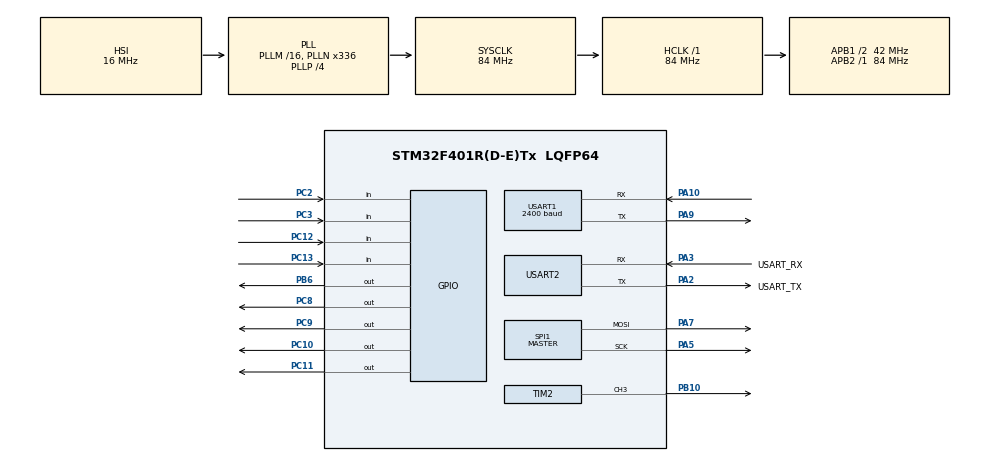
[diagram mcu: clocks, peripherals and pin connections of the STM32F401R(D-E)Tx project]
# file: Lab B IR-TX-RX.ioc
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Dma.Request0=SPI1_TX
Dma.SPI1_TX.0.Direction=DMA_MEMORY_TO_PERIPH
Dma.SPI1_TX.0.FIFOMode=DMA_FIFOMODE_DISABLE
Dma.SPI1_TX.0.Instance=DMA2_Stream3
Dma.SPI1_TX.0.MemDataAlignment=DMA_MDATAALIGN_BYTE
Dma.SPI1_TX.0.MemInc=DMA_MINC_ENABLE
Dma.SPI1_TX.0.Mode=DMA_NORMAL
Dma.SPI1_TX.0.PeriphDataAlignment=DMA_PDATAALIGN_BYTE
Dma.SPI1_TX.0.PeriphInc=DMA_PINC_DISABLE
Dma.SPI1_TX.0.Priority=DMA_PRIORITY_LOW
Mcu.Family=STM32F4
Mcu.Name=STM32F401R(D-E)Tx
Mcu.Package=LQFP64
NVIC.DMA2_Stream3_IRQn=true\:0\:0\:false\:false\:true\:false\:true\:true
NVIC.PriorityGroup=NVIC_PRIORITYGROUP_0
NVIC.SPI1_IRQn=true\:0\:0\:false\:false\:true\:true\:true\:true
NVIC.TIM1_TRG_COM_TIM11_IRQn=true\:0\:0\:false\:false\:true\:true\:true\:true
NVIC.TIM1_UP_TIM10_IRQn=true\:0\:0\:false\:false\:true\:true\:true\:true
NVIC.TIM2_IRQn=true\:0\:0\:false\:false\:true\:true\:true\:true
NVIC.TIM3_IRQn=true\:0\:0\:false\:false\:true\:true\:true\:true
NVIC.USART1_IRQn=true\:0\:0\:false\:false\:true\:true\:true\:true
NVIC.USART2_IRQn=true\:0\:0\:false\:false\:true\:true\:true\:true
PA10.Mode=Asynchronous
PA10.Signal=USART1_RX
PA13.GPIO_Label=TMS
PA13.Mode=Serial_Wire
PA13.Signal=SYS_JTMS-SWDIO
PA14.GPIO_Label=TCK
PA14.Mode=Serial_Wire
PA14.Signal=SYS_JTCK-SWCLK
PA2.GPIO_Label=USART_TX
PA2.GPIO_Mode=GPIO_MODE_AF_PP
PA2.GPIO_PuPd=GPIO_NOPULL
PA2.GPIO_Speed=GPIO_SPEED_FREQ_LOW
PA2.Mode=Asynchronous
PA2.Signal=USART2_TX
PA3.GPIO_Label=USART_RX
PA3.GPIO_Mode=GPIO_MODE_AF_PP
PA3.GPIO_PuPd=GPIO_NOPULL
PA3.GPIO_Speed=GPIO_SPEED_FREQ_LOW
PA3.Mode=Asynchronous
PA3.Signal=USART2_RX
PA5.Mode=TX_Only_Simplex_Unidirect_Master
PA5.Signal=SPI1_SCK
PA7.Mode=TX_Only_Simplex_Unidirect_Master
PA7.Signal=SPI1_MOSI
PA9.Mode=Asynchronous
PA9.Signal=USART1_TX
PB10.Signal=S_TIM2_CH3
PB3.GPIO_Label=SWO
PB3.Signal=SYS_JTDO-SWO
PB6.Signal=GPIO_Output
PC10.Signal=GPIO_Output
PC11.Signal=GPIO_Output
PC12.Signal=GPIO_Input
PC13-ANTI_TAMP.Signal=GPIO_Input
PC14-OSC32_IN.Mode=LSE-External-Oscillator
PC14-OSC32_IN.Signal=RCC_OSC32_IN
PC15-OSC32_OUT.Mode=LSE-External-Oscillator
PC15-OSC32_OUT.Signal=RCC_OSC32_OUT
PC2.Signal=GPIO_Input
PC3.Signal=GPIO_Input
PC8.Signal=GPIO_Output
PC9.Signal=GPIO_Output
PH0\ -\ OSC_IN.Mode=HSE-External-Clock-Source
PH0\ -\ OSC_IN.Signal=RCC_OSC_IN
PH1\ -\ OSC_OUT.Mode=HSE-External-Clock-Source
PH1\ -\ OSC_OUT.Signal=RCC_OSC_OUT
ProjectManager.HeapSize=0x200
ProjectManager.StackSize=0x400
ProjectManager.TargetToolchain=STM32CubeIDE
RCC.48MHZClocksFreq_Value=48000000
RCC.AHBFreq_Value=84000000
RCC.APB1CLKDivider=RCC_HCLK_DIV2
RCC.APB1Freq_Value=42000000
RCC.APB1TimFreq_Value=84000000
RCC.APB2Freq_Value=84000000
RCC.APB2TimFreq_Value=84000000
RCC.CortexFreq_Value=84000000
RCC.HCLKFreq_Value=84000000
RCC.HSE_VALUE=8000000
RCC.HSI_VALUE=16000000
RCC.PLLN=336
RCC.PLLP=RCC_PLLP_DIV4
RCC.PLLQ=7
RCC.SYSCLKFreq_VALUE=84000000
RCC.SYSCLKSource=RCC_SYSCLKSOURCE_PLLCLK
RCC.VCOOutputFreq_Value=336000000
SH.S_TIM2_CH3.0=TIM2_CH3,PWM Generation3 CH3
SPI1.BaudRatePrescaler=SPI_BAUDRATEPRESCALER_4
SPI1.Direction=SPI_DIRECTION_2LINES
SPI1.Mode=SPI_MODE_MASTER
SPI1.VirtualType=VM_MASTER
TIM1.Period=499
TIM1.Prescaler=69
TIM10.Period=40-1
TIM10.Prescaler=8400-1
TIM11.Period=5000-1
TIM11.Prescaler=8400-1
TIM2.Channel-PWM\ Generation3\ CH3=TIM_CHANNEL_3
TIM2.Period=60
TIM2.Prescaler=35
TIM2.Pulse-PWM\ Generation3\ CH3=30
TIM3.Period=100-1
TIM3.Prescaler=8400-1
USART1.BaudRate=2400
USART1.Mode=MODE_RX
USART1.Parity=PARITY_EVEN
USART1.VirtualMode=VM_ASYNC
USART2.VirtualMode=VM_ASYNC
VP_TIM10_VS_ClockSourceINT.Mode=Enable_Timer
VP_TIM11_VS_ClockSourceINT.Mode=Enable_Timer
VP_TIM1_VS_ClockSourceINT.Mode=Internal
VP_TIM2_VS_ClockSourceINT.Mode=Internal
VP_TIM3_VS_ClockSourceINT.Mode=Internal
board=NUCLEO-F401RE

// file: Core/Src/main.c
/* USER CODE BEGIN Header */
/**
  ******************************************************************************
  * @file           : main.c
  * @brief          : Main program body
  ******************************************************************************
  * @attention
  *
  * Copyright (c) 2023 STMicroelectronics.
  * All rights reserved.
  *
  * This software is licensed under terms that can be found in the LICENSE file
  * in the root directory of this software component.
  * If no LICENSE file comes with this software, it is provided AS-IS.
  *
  ******************************************************************************
  */
/* USER CODE END Header */
#include "main.h"

/* USER CODE BEGIN PD */
#define QUEUE_SIZE 100
#define N_ROWS_K 4
#define N_COLS_K 4
#define N_CHARS 38 //17 because we added X to the end when we receive something else than the expected chars
const uint8_t led_mat[N_CHARS][5][2] = {
		//A
		{{31, 16},
		{36, 8},
		{68, 4},
		{36, 2},
		{31, 1}},
		//B
		{{127, 16},
		{73, 8},
		{73, 4},
		{73, 2},
		{54, 1}},
		//C
		{{62, 16},
		{65, 8},
		{65, 4},
		{65, 2},
		{34, 1}},
		//D
		{{127, 16},
		{65, 8},
		{65, 4},
		{65, 2},
		{62, 1}},
		//E
		{{127, 16},
		{73, 8},
		{73, 4},
		{73, 2},
		{73, 1}},
		//F
		{{127, 16},
		{72, 8},
		{72, 4},
		{72, 2},
		{72, 1}},
		//G
		{{127, 16},
		{65, 8},
		{73, 4},
		{73, 2},
		{39, 1}},
		//H
		{{127, 16},
		{8, 8},
		{8, 4},
		{8, 2},
		{127, 1}},
		//I
		{{0, 16},
		{65, 8},
		{127, 4},
		{65, 2},
		{0, 1}},
		//J
		{{0, 16},
		{6, 8},
		{65, 4},
		{126, 2},
		{64, 1}},
		//K
		{{127, 16},
		{8, 8},
		{20, 4},
		{34, 2},
		{65, 1}},
		//L
		{{0, 16},
		{127, 8},
		{1, 4},
		{1, 2},
		{0, 1}},
		//M
		{{127, 16},
		{64, 8},
		{48, 4},
		{64, 2},
		{127, 1}},
		//N
		{{127, 16},
		{48, 8},
		{8, 4},
		{6, 2},
		{127, 1}},
		//O
		{{62, 16},
		{65, 8},
		{65, 4},
		{65, 2},
		{62, 1}},
		//P
		{{127, 16},
		{72, 8},
		{72, 4},
		{72, 2},
		{48, 1}},
		//Q
		{{62, 16},
		{65, 8},
		{69, 4},
		{62, 2},
		{1, 1}},
		//R
		{{127, 16},
		{72, 8},
		{76, 4},
		{74, 2},
		{49, 1}},
		//S
		{{49, 16},
		{73, 8},
		{73, 4},
		{73, 2},
		{70, 1}},
		//T
		{{64, 16},
		{64, 8},
		{127, 4},
		{64, 2},
		{64, 1}},
		//U
		{{126, 16},
		{1, 8},
		{1, 4},
		{1, 2},
		{126, 1}},
		//V
		{{124, 16},
		{2, 8},
		{1, 4},
		{2, 2},
		{124, 1}},
		//W
		{{126, 16},
		{1, 8},
		{6, 4},
		{1, 2},
		{126, 1}},
		//X
		{{99, 16},
		{20, 8},
		{8, 4},
		{20, 2},
		{99, 1}},
		//Y
		{{64, 16},
		{32, 8},
		{31, 4},
		{32, 2},
		{64, 1}},
		//Z
		{{67, 16},
		{69, 8},
		{73, 4},
		{81, 2},
		{97, 1}},
		//0
		{{62, 16},
		{113, 8},
		{73, 4},
		{71, 2},
		{62, 1}},
		//1
		{{16, 16},
		{33, 8},
		{127, 4},
		{1, 2},
		{0, 1}},
		//2
		{{33, 16},
		{67, 8},
		{69, 4},
		{73, 2},
		{49, 1}},
		//3
		{{34, 16},
		{65, 8},
		{73, 4},
		{73, 2},
		{54, 1}},
		//4
		{{120, 16},
		{8, 8},
		{8, 4},
		{8, 2},
		{127, 1}},
		//5
		{{114, 16},
		{81, 8},
		{81, 4},
		{81, 2},
		{78, 1}},
		//6
		{{62, 16},
		{73, 8},
		{73, 4},
		{73, 2},
		{38, 1}},
		//7
		{{64, 16},
		{64, 8},
		{79, 4},
		{80, 2},
		{96, 1}},
		//8
		{{54, 16},
		{73, 8},
		{73, 4},
		{73, 2},
		{54, 1}},
		//9
		{{50, 16},
		{73, 8},
		{73, 4},
		{73, 2},
		{62, 1}},
		//dot
		{{0, 16},
		{0, 8},
		{1, 4},
		{0, 2},
		{0, 1}},
		//space
		{{0, 16},
		{0, 8},
		{0, 4},
		{0, 2},
		{0, 1}}
};

/* USER CODE END PD */

SPI_HandleTypeDef hspi1;
DMA_HandleTypeDef hdma_spi1_tx;

TIM_HandleTypeDef htim1;
TIM_HandleTypeDef htim2;
TIM_HandleTypeDef htim3;
TIM_HandleTypeDef htim10;
TIM_HandleTypeDef htim11;

UART_HandleTypeDef huart1;
UART_HandleTypeDef huart2;

/* USER CODE BEGIN PV */
struct Queue {
	uint8_t items[QUEUE_SIZE];
	int front;
	int rear;
	int size;
} rx_queue, tx_queue;

int transmitting = 0;
const uint16_t k_input[] = { GPIO_PIN_3, GPIO_PIN_2, GPIO_PIN_13, GPIO_PIN_12 };
const uint16_t k_output[] = { GPIO_PIN_8, GPIO_PIN_9, GPIO_PIN_10, GPIO_PIN_11 };

uint8_t rx_data = 0;
int rx_letter_idx = N_CHARS-1;
/* USER CODE END PV */

void SystemClock_Config(void);
static void MX_GPIO_Init(void);
static void MX_DMA_Init(void);
static void MX_USART2_UART_Init(void);
static void MX_USART1_UART_Init(void);
static void MX_TIM10_Init(void);
static void MX_SPI1_Init(void);
static void MX_TIM11_Init(void);
static void MX_TIM1_Init(void);
static void MX_TIM2_Init(void);
static void MX_TIM3_Init(void);
/* USER CODE BEGIN PFP */
//queue functions
void init_queue(struct Queue* q);
int isFull(struct Queue *queue);
int isEmpty(struct Queue *queue);
int enqueue(struct Queue *queue, uint8_t item);
uint8_t dequeue(struct Queue *queue);
uint8_t* front(struct Queue *queue);

//communication functions
uint8_t char_to_ind(uint8_t c);
void transmit(uint8_t value);

/* USER CODE END PFP */

/* USER CODE BEGIN 0 */

//management of IR reception
void HAL_UART_RxCpltCallback(UART_HandleTypeDef *huart){
	if(isEmpty(&rx_queue)) HAL_TIM_Base_Start_IT(&htim11); //start the timer to dequeue received letters

	enqueue(&rx_queue, rx_data); //add to queue received data

	HAL_UART_Receive_IT(&huart1, &rx_data, 1); //start new reception
}

void HAL_TIM_PeriodElapsedCallback(TIM_HandleTypeDef *htim) {

	if (htim == &htim1) {//timer handling the IR transmission

		static int8_t bit_counter = -1; //bit that has to be transmitted
		static int8_t parity = 0; //parity bit memorization
		static int8_t tim_on = 0; //status of the timer
		static uint8_t data = 0; //byte to be sent
		uint8_t bit_tx; //bit to transmit

		if (bit_counter == -1) { //start bit
			HAL_UART_DeInit(&huart1); //stop receiving on uart during transmission
			//__HAL_UART_DISABLE_IT(&huart1, UART_IT_RXNE);
			data = dequeue(&tx_queue); //get the full byte to be sent
			bit_tx = 0; //transmit 0
		} else if (bit_counter < 7) { //7 bit of data transmission
			bit_tx = data & 0b00000001; //extract first bit
			data = data >> 1; //shift data for next transmission
			if (bit_tx) parity = !parity; //calculate parity (if a 1 is found switch parity)
		} else if (bit_counter == 7) { //partity bit transmission
			bit_tx = parity;
		} else if (bit_counter == 8) { //last transmission
			bit_tx = 1;

		}

		//transmission section
		if (bit_tx && tim_on) { //to transmit 1 turn off PWM
			HAL_TIM_PWM_Stop(&htim2, TIM_CHANNEL_3);
			tim_on = 0;
		} else if (!bit_tx && !tim_on) { //to transmit 0 turn on PWM
			HAL_TIM_PWM_Start(&htim2, TIM_CHANNEL_3);
			tim_on = 1;
		}

		if (bit_counter >= 8) { //reset variables for next transmission
			bit_counter = -1;
			parity = 0;
			if (isEmpty(&tx_queue)){ //if there is nothing more to transmit stop timer
				HAL_TIM_Base_Stop_IT(&htim1);
				transmitting = 0;

				//restart the UART1
				MX_USART1_UART_Init();
				HAL_UART_Receive_IT(&huart1, &rx_data, 1); //restart receiving data
			}
			return;
		}

		bit_counter++;

	}else if (htim == &htim3) { //timer handling the keyboard reading
		static const char lett[16] = "CDEF89AB45670123"; //initialized letters array
		static char state[16] = { 0 }; //initialized states of buttons
		static int col = 0; //index for column

		for (int i = 0; i < N_ROWS_K; i++) {
			int on = !HAL_GPIO_ReadPin(GPIOC, k_input[i]);

			if (on && state[col + i * N_ROWS_K] == 0) {
				//enqueue letter for transmission
				transmit(lett[col + i * N_ROWS_K]);
				state[col + i * N_ROWS_K] = 1;

			} else if (!on && state[col + i * N_ROWS_K] == 1) {
				state[col + i * N_ROWS_K] = 0;
			}
		}

		HAL_GPIO_WritePin(GPIOC, k_output[col], 0);
		col = (col+1) % N_COLS_K;
		HAL_GPIO_WritePin(GPIOC, k_output[col], 1); //

	}else if(htim == &htim10){ //timer handling led matrix

		static int idx = 0;
		HAL_SPI_Transmit_DMA(&hspi1, led_mat[rx_letter_idx][idx], 2);
		idx = (idx + 1) % 5;

	}else if(htim == &htim11){//timer handling the change of letters each half second

		if(isEmpty(&rx_queue)){ //if the queue is empty we do not have to do this nomore
			HAL_TIM_Base_Stop_IT(&htim11);
			rx_letter_idx = N_CHARS - 1;
		}else{
			uint8_t to_display = dequeue(&rx_queue);
			rx_letter_idx = char_to_ind(to_display);
		}

	}
}

void HAL_SPI_TxCpltCallback (SPI_HandleTypeDef * hspi){
	HAL_GPIO_TogglePin(GPIOB, GPIO_PIN_6);
	HAL_GPIO_TogglePin(GPIOB, GPIO_PIN_6);
}
/* USER CODE END 0 */

int main(void)
{
  /* USER CODE BEGIN 1 */
  init_queue(&rx_queue);
  init_queue(&tx_queue);
  /* USER CODE END 1 */

  /* MCU Configuration--------------------------------------------------------*/

  /* Reset of all peripherals, Initializes the Flash interface and the Systick. */
  HAL_Init();

  /* Configure the system clock */
  SystemClock_Config();

  /* Initialize all configured peripherals */
  MX_GPIO_Init();
  MX_DMA_Init();
  MX_USART2_UART_Init();
  MX_USART1_UART_Init();
  MX_TIM10_Init();
  MX_SPI1_Init();
  MX_TIM11_Init();
  MX_TIM1_Init();
  MX_TIM2_Init();
  MX_TIM3_Init();
  /* USER CODE BEGIN 2 */
  HAL_TIM_Base_Start_IT(&htim10);
  HAL_TIM_Base_Start_IT(&htim3);

  HAL_UART_Receive_IT(&huart1, &rx_data, 1);
  /* USER CODE END 2 */

  /* Infinite loop */
  while (1)
  {

  }
}

void SystemClock_Config(void)
{
  RCC_OscInitTypeDef RCC_OscInitStruct = {0};
  RCC_ClkInitTypeDef RCC_ClkInitStruct = {0};

  /** Configure the main internal regulator output voltage
  */
  __HAL_RCC_PWR_CLK_ENABLE();
  __HAL_PWR_VOLTAGESCALING_CONFIG(PWR_REGULATOR_VOLTAGE_SCALE2);

  /** Initializes the RCC Oscillators according to the specified parameters
  * in the RCC_OscInitTypeDef structure.
  */
  RCC_OscInitStruct.OscillatorType = RCC_OSCILLATORTYPE_HSI;
  RCC_OscInitStruct.HSIState = RCC_HSI_ON;
  RCC_OscInitStruct.HSICalibrationValue = RCC_HSICALIBRATION_DEFAULT;
  RCC_OscInitStruct.PLL.PLLState = RCC_PLL_ON;
  RCC_OscInitStruct.PLL.PLLSource = RCC_PLLSOURCE_HSI;
  RCC_OscInitStruct.PLL.PLLM = 16;
  RCC_OscInitStruct.PLL.PLLN = 336;
  RCC_OscInitStruct.PLL.PLLP = RCC_PLLP_DIV4;
  RCC_OscInitStruct.PLL.PLLQ = 7;
  if (HAL_RCC_OscConfig(&RCC_OscInitStruct) != HAL_OK)
  {
    Error_Handler();
  }

  /** Initializes the CPU, AHB and APB buses clocks
  */
  RCC_ClkInitStruct.ClockType = RCC_CLOCKTYPE_HCLK|RCC_CLOCKTYPE_SYSCLK
                              |RCC_CLOCKTYPE_PCLK1|RCC_CLOCKTYPE_PCLK2;
  RCC_ClkInitStruct.SYSCLKSource = RCC_SYSCLKSOURCE_PLLCLK;
  RCC_ClkInitStruct.AHBCLKDivider = RCC_SYSCLK_DIV1;
  RCC_ClkInitStruct.APB1CLKDivider = RCC_HCLK_DIV2;
  RCC_ClkInitStruct.APB2CLKDivider = RCC_HCLK_DIV1;

  if (HAL_RCC_ClockConfig(&RCC_ClkInitStruct, FLASH_LATENCY_2) != HAL_OK)
  {
    Error_Handler();
  }
}

static void MX_SPI1_Init(void)
{

  /* SPI1 parameter configuration*/
  hspi1.Instance = SPI1;
  hspi1.Init.Mode = SPI_MODE_MASTER;
  hspi1.Init.Direction = SPI_DIRECTION_2LINES;
  hspi1.Init.DataSize = SPI_DATASIZE_8BIT;
  hspi1.Init.CLKPolarity = SPI_POLARITY_LOW;
  hspi1.Init.CLKPhase = SPI_PHASE_1EDGE;
  hspi1.Init.NSS = SPI_NSS_SOFT;
  hspi1.Init.BaudRatePrescaler = SPI_BAUDRATEPRESCALER_4;
  hspi1.Init.FirstBit = SPI_FIRSTBIT_MSB;
  hspi1.Init.TIMode = SPI_TIMODE_DISABLE;
  hspi1.Init.CRCCalculation = SPI_CRCCALCULATION_DISABLE;
  hspi1.Init.CRCPolynomial = 10;
  if (HAL_SPI_Init(&hspi1) != HAL_OK)
  {
    Error_Handler();
  }

}

static void MX_TIM1_Init(void)
{

  TIM_ClockConfigTypeDef sClockSourceConfig = {0};
  TIM_MasterConfigTypeDef sMasterConfig = {0};

  htim1.Instance = TIM1;
  htim1.Init.Prescaler = 69;
  htim1.Init.CounterMode = TIM_COUNTERMODE_UP;
  htim1.Init.Period = 499;
  htim1.Init.ClockDivision = TIM_CLOCKDIVISION_DIV1;
  htim1.Init.RepetitionCounter = 0;
  htim1.Init.AutoReloadPreload = TIM_AUTORELOAD_PRELOAD_DISABLE;
  if (HAL_TIM_Base_Init(&htim1) != HAL_OK)
  {
    Error_Handler();
  }
  sClockSourceConfig.ClockSource = TIM_CLOCKSOURCE_INTERNAL;
  if (HAL_TIM_ConfigClockSource(&htim1, &sClockSourceConfig) != HAL_OK)
  {
    Error_Handler();
  }
  sMasterConfig.MasterOutputTrigger = TIM_TRGO_RESET;
  sMasterConfig.MasterSlaveMode = TIM_MASTERSLAVEMODE_DISABLE;
  if (HAL_TIMEx_MasterConfigSynchronization(&htim1, &sMasterConfig) != HAL_OK)
  {
    Error_Handler();
  }

}

static void MX_TIM2_Init(void)
{

  TIM_ClockConfigTypeDef sClockSourceConfig = {0};
  TIM_MasterConfigTypeDef sMasterConfig = {0};
  TIM_OC_InitTypeDef sConfigOC = {0};

  htim2.Instance = TIM2;
  htim2.Init.Prescaler = 35;
  htim2.Init.CounterMode = TIM_COUNTERMODE_UP;
  htim2.Init.Period = 60;
  htim2.Init.ClockDivision = TIM_CLOCKDIVISION_DIV1;
  htim2.Init.AutoReloadPreload = TIM_AUTORELOAD_PRELOAD_DISABLE;
  if (HAL_TIM_Base_Init(&htim2) != HAL_OK)
  {
    Error_Handler();
  }
  sClockSourceConfig.ClockSource = TIM_CLOCKSOURCE_INTERNAL;
  if (HAL_TIM_ConfigClockSource(&htim2, &sClockSourceConfig) != HAL_OK)
  {
    Error_Handler();
  }
  if (HAL_TIM_PWM_Init(&htim2) != HAL_OK)
  {
    Error_Handler();
  }
  sMasterConfig.MasterOutputTrigger = TIM_TRGO_RESET;
  sMasterConfig.MasterSlaveMode = TIM_MASTERSLAVEMODE_DISABLE;
  if (HAL_TIMEx_MasterConfigSynchronization(&htim2, &sMasterConfig) != HAL_OK)
  {
    Error_Handler();
  }
  sConfigOC.OCMode = TIM_OCMODE_PWM1;
  sConfigOC.Pulse = 30;
  sConfigOC.OCPolarity = TIM_OCPOLARITY_HIGH;
  sConfigOC.OCFastMode = TIM_OCFAST_DISABLE;
  if (HAL_TIM_PWM_ConfigChannel(&htim2, &sConfigOC, TIM_CHANNEL_3) != HAL_OK)
  {
    Error_Handler();
  }
  HAL_TIM_MspPostInit(&htim2);

}

static void MX_TIM3_Init(void)
{

  TIM_ClockConfigTypeDef sClockSourceConfig = {0};
  TIM_MasterConfigTypeDef sMasterConfig = {0};

  htim3.Instance = TIM3;
  htim3.Init.Prescaler = 8400-1;
  htim3.Init.CounterMode = TIM_COUNTERMODE_UP;
  htim3.Init.Period = 100-1;
  htim3.Init.ClockDivision = TIM_CLOCKDIVISION_DIV1;
  htim3.Init.AutoReloadPreload = TIM_AUTORELOAD_PRELOAD_DISABLE;
  if (HAL_TIM_Base_Init(&htim3) != HAL_OK)
  {
    Error_Handler();
  }
  sClockSourceConfig.ClockSource = TIM_CLOCKSOURCE_INTERNAL;
  if (HAL_TIM_ConfigClockSource(&htim3, &sClockSourceConfig) != HAL_OK)
  {
    Error_Handler();
  }
  sMasterConfig.MasterOutputTrigger = TIM_TRGO_RESET;
  sMasterConfig.MasterSlaveMode = TIM_MASTERSLAVEMODE_DISABLE;
  if (HAL_TIMEx_MasterConfigSynchronization(&htim3, &sMasterConfig) != HAL_OK)
  {
    Error_Handler();
  }

}

static void MX_TIM10_Init(void)
{

  htim10.Instance = TIM10;
  htim10.Init.Prescaler = 8400-1;
  htim10.Init.CounterMode = TIM_COUNTERMODE_UP;
  htim10.Init.Period = 40-1;
  htim10.Init.ClockDivision = TIM_CLOCKDIVISION_DIV1;
  htim10.Init.AutoReloadPreload = TIM_AUTORELOAD_PRELOAD_DISABLE;
  if (HAL_TIM_Base_Init(&htim10) != HAL_OK)
  {
    Error_Handler();
  }

}

static void MX_TIM11_Init(void)
{

  htim11.Instance = TIM11;
  htim11.Init.Prescaler = 8400-1;
  htim11.Init.CounterMode = TIM_COUNTERMODE_UP;
  htim11.Init.Period = 5000-1;
  htim11.Init.ClockDivision = TIM_CLOCKDIVISION_DIV1;
  htim11.Init.AutoReloadPreload = TIM_AUTORELOAD_PRELOAD_DISABLE;
  if (HAL_TIM_Base_Init(&htim11) != HAL_OK)
  {
    Error_Handler();
  }

}

static void MX_USART1_UART_Init(void)
{

  huart1.Instance = USART1;
  huart1.Init.BaudRate = 2400;
  huart1.Init.WordLength = UART_WORDLENGTH_8B;
  huart1.Init.StopBits = UART_STOPBITS_1;
  huart1.Init.Parity = UART_PARITY_EVEN;
  huart1.Init.Mode = UART_MODE_RX;
  huart1.Init.HwFlowCtl = UART_HWCONTROL_NONE;
  huart1.Init.OverSampling = UART_OVERSAMPLING_16;
  if (HAL_UART_Init(&huart1) != HAL_OK)
  {
    Error_Handler();
  }

}

static void MX_USART2_UART_Init(void)
{

  huart2.Instance = USART2;
  huart2.Init.BaudRate = 115200;
  huart2.Init.WordLength = UART_WORDLENGTH_8B;
  huart2.Init.StopBits = UART_STOPBITS_1;
  huart2.Init.Parity = UART_PARITY_NONE;
  huart2.Init.Mode = UART_MODE_TX_RX;
  huart2.Init.HwFlowCtl = UART_HWCONTROL_NONE;
  huart2.Init.OverSampling = UART_OVERSAMPLING_16;
  if (HAL_UART_Init(&huart2) != HAL_OK)
  {
    Error_Handler();
  }

}

static void MX_DMA_Init(void)
{

  /* DMA controller clock enable */
  __HAL_RCC_DMA2_CLK_ENABLE();

  /* DMA interrupt init */
  /* DMA2_Stream3_IRQn interrupt configuration */
  HAL_NVIC_SetPriority(DMA2_Stream3_IRQn, 0, 0);
  HAL_NVIC_EnableIRQ(DMA2_Stream3_IRQn);

}

static void MX_GPIO_Init(void)
{
  GPIO_InitTypeDef GPIO_InitStruct = {0};

  /* GPIO Ports Clock Enable */
  __HAL_RCC_GPIOC_CLK_ENABLE();
  __HAL_RCC_GPIOH_CLK_ENABLE();
  __HAL_RCC_GPIOA_CLK_ENABLE();
  __HAL_RCC_GPIOB_CLK_ENABLE();

  /*Configure GPIO pin Output Level */
  HAL_GPIO_WritePin(GPIOC, GPIO_PIN_8|GPIO_PIN_9|GPIO_PIN_10|GPIO_PIN_11, GPIO_PIN_RESET);

  /*Configure GPIO pin Output Level */
  HAL_GPIO_WritePin(GPIOB, GPIO_PIN_6, GPIO_PIN_RESET);

  /*Configure GPIO pins : PC13 PC2 PC3 PC12 */
  GPIO_InitStruct.Pin = GPIO_PIN_13|GPIO_PIN_2|GPIO_PIN_3|GPIO_PIN_12;
  GPIO_InitStruct.Mode = GPIO_MODE_INPUT;
  GPIO_InitStruct.Pull = GPIO_NOPULL;
  HAL_GPIO_Init(GPIOC, &GPIO_InitStruct);

  /*Configure GPIO pins : PC8 PC9 PC10 PC11 */
  GPIO_InitStruct.Pin = GPIO_PIN_8|GPIO_PIN_9|GPIO_PIN_10|GPIO_PIN_11;
  GPIO_InitStruct.Mode = GPIO_MODE_OUTPUT_PP;
  GPIO_InitStruct.Pull = GPIO_NOPULL;
  GPIO_InitStruct.Speed = GPIO_SPEED_FREQ_LOW;
  HAL_GPIO_Init(GPIOC, &GPIO_InitStruct);

  /*Configure GPIO pin : PB6 */
  GPIO_InitStruct.Pin = GPIO_PIN_6;
  GPIO_InitStruct.Mode = GPIO_MODE_OUTPUT_PP;
  GPIO_InitStruct.Pull = GPIO_NOPULL;
  GPIO_InitStruct.Speed = GPIO_SPEED_FREQ_LOW;
  HAL_GPIO_Init(GPIOB, &GPIO_InitStruct);

}

/* USER CODE BEGIN 4 */
void init_queue(struct Queue* q){
	q->front = 0;
	q->rear = QUEUE_SIZE - 1;
	q->size = 0;
}
int isFull(struct Queue *queue) {
	return queue->size == QUEUE_SIZE;
}

int isEmpty(struct Queue *queue) {
	return (queue->size == 0);
}

int enqueue(struct Queue *queue, uint8_t item) {
	if (isFull(queue))
		return 0;
	queue->rear = (queue->rear + 1) % QUEUE_SIZE;
	queue->items[queue->rear] = item;
	queue->size = queue->size + 1;
	return 1;
}

uint8_t dequeue(struct Queue *queue) {
	if (isEmpty(queue))
		Error_Handler(); //if dequeue with empty queue return error!

	uint8_t item = queue->items[queue->front];
	queue->front = (queue->front + 1) % QUEUE_SIZE;
	queue->size = queue->size - 1;
	return item;
}

uint8_t* front(struct Queue* queue){
    if (isEmpty(queue)) Error_Handler();
    return &(queue->items[queue->front]);
}

uint8_t char_to_ind(uint8_t c){
	if(c >= 'A' && c <='Z'){
		return c - 'A';
	}else if(c >= 'a' && c <='z'){
		return c - 'a';
	}else if(c >= '0' && c <= '9'){
		return c - '0' + 26; //6 because the first 26 mat are letters
	}else{
		return N_CHARS - 1;
	}

}
void transmit(uint8_t value) {
	enqueue(&tx_queue, value);
	if(!transmitting){
		HAL_TIM_Base_Start_IT(&htim1);
		transmitting = 1;
	}
}
/* USER CODE END 4 */

void Error_Handler(void)
{
  __disable_irq();
  while (1)
  {
  }
}
